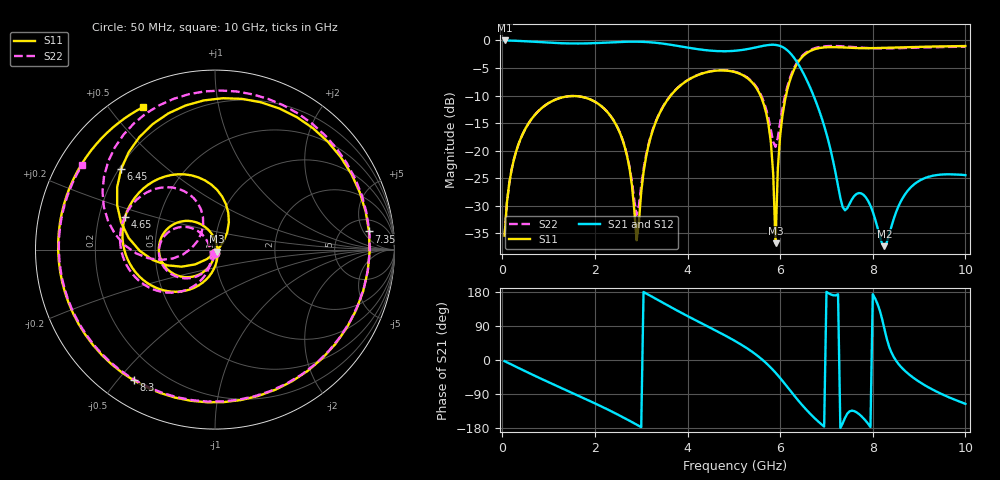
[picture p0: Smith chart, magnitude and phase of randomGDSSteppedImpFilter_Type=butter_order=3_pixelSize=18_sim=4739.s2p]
! freq	dB(S11)	phase(S11)	dB(S12)	phase(S12)
!  dB(S21)	phase(S21)	dB(S22)	phase(S22)
!S-par simulation data
#  GHz  S  DB  R 50
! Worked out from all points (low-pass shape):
!   200 points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, 50 MHz to 10 GHz, reference 50 ohm
!   highest |S21| = -0.01 dB at 50 MHz (marker M1); lowest = -37.4 dB at 8.25 GHz (marker M2)
!   |S21| within 3 dB of the highest: start of sweep to 6.286 GHz
!   lowest |S11| = -36.8 dB at 5.9 GHz (marker M3), VSWR 1.03, Z = 50.8 - j1.18 ohm
!   |S11| at or under -10 dB: start of sweep to 3.638 GHz; 5.573 GHz to 6.127 GHz (553.6 MHz wide, 9.46 % of centre)
!   |S22| runs from -35.4 to -1.0 dB; largest |S21 - S12| = 0
!   S11 on the Smith chart (normalised r, x): 50 MHz: 1.00, -0.03; 4.65 GHz: 0.31, +0.16; 6.45 GHz: 0.21, +0.35; 7.35 GHz: 8, +7; 8.3 GHz: 0.10, -0.55; 10 GHz: 0.08, +0.61
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0.05  -35.43 -93.0  -0.01 -3.1  -0.01 -3.1  -35.43 -92.8
0.5  -16.01 -121.1  -0.15 -29.9  -0.15 -29.9  -16.01 -119.6
1.75  -10.30 166.2  -0.55 -100.2  -0.55 -100.2  -10.30 172.7
2.55  -17.00 114.5  -0.28 -147.6  -0.28 -147.6  -16.95 132.8
2.9  -36.28 21.4  -0.23 -170.4  -0.23 -170.4  -31.69 -176.4
3.4  -13.18 -114.5  -0.51 155.6  -0.51 155.6  -13.10 -118.4
4.65  -5.47 160.1  -1.94 75.0  -1.94 75.0  -5.43 170.1
5.05  -5.81 132.1  -1.86 48.5  -1.86 48.5  -5.76 146.7
5.7  -13.25 70.1  -0.89 -8.4  -0.89 -8.4  -12.56 109.2
5.85  -24.23 42.5  -0.79 -26.7  -0.79 -26.7  -18.44 129.0
5.9  -36.84 -53.8  -0.81 -33.4  -0.81 -33.4  -19.31 153.7
5.95  -23.27 -130.1  -0.88 -40.4  -0.88 -40.4  -17.61 177.0
6.05  -13.63 -152.8  -1.19 -55.0  -1.19 -55.0  -12.36 -168.1
6.45  -3.24 139.5  -5.16 -115.4  -5.16 -115.4  -3.04 152.8
6.7  -1.73 101.6  -9.59 -148.2  -9.59 -148.2  -1.55 122.6
7.35  -1.27 6.7  -30.24 -167.2  -30.24 -167.2  -1.07 46.1
7.75  -1.41 -52.6  -27.76 -147.8  -27.76 -147.8  -1.31 -7.1
8.25  -1.35 -116.5  -37.35 82.5  -37.35 82.5  -1.45 -74.8
8.3  -1.33 -121.9  -36.70 57.0  -36.70 57.0  -1.45 -81.0
8.35  -1.32 -127.2  -35.36 36.4  -35.36 36.4  -1.44 -87.0
9.1  -1.14 169.8  -25.08 -64.9  -25.08 -64.9  -1.27 -158.2
10  -1.02 116.7  -24.46 -115.7  -24.46 -115.7  -1.14 147.4
